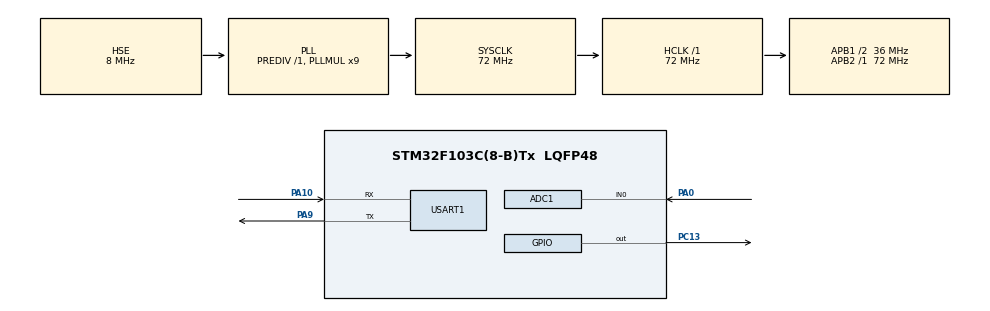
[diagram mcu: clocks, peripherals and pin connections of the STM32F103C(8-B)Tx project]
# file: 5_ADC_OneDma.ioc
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ADC1.Channel-0\#ChannelRegularConversion=ADC_CHANNEL_0
ADC1.ContinuousConvMode=ENABLE
ADC1.NbrOfConversionFlag=1
ADC1.Rank-0\#ChannelRegularConversion=1
ADC1.SamplingTime-0\#ChannelRegularConversion=ADC_SAMPLETIME_41CYCLES_5
ADC1.master=1
Dma.ADC1.0.Direction=DMA_PERIPH_TO_MEMORY
Dma.ADC1.0.Instance=DMA1_Channel1
Dma.ADC1.0.MemDataAlignment=DMA_MDATAALIGN_HALFWORD
Dma.ADC1.0.MemInc=DMA_MINC_ENABLE
Dma.ADC1.0.Mode=DMA_CIRCULAR
Dma.ADC1.0.PeriphDataAlignment=DMA_PDATAALIGN_HALFWORD
Dma.ADC1.0.PeriphInc=DMA_PINC_DISABLE
Dma.ADC1.0.Priority=DMA_PRIORITY_MEDIUM
Dma.Request0=ADC1
Mcu.Family=STM32F1
Mcu.Name=STM32F103C(8-B)Tx
Mcu.Package=LQFP48
NVIC.ADC1_2_IRQn=true\:0\:0\:false\:false\:true\:true\:true\:true
NVIC.DMA1_Channel1_IRQn=true\:0\:0\:false\:false\:true\:false\:true\:true
NVIC.PriorityGroup=NVIC_PRIORITYGROUP_4
NVIC.USART1_IRQn=true\:0\:0\:false\:false\:true\:true\:true\:true
PA0-WKUP.Signal=ADCx_IN0
PA10.Mode=Asynchronous
PA10.Signal=USART1_RX
PA13.Mode=Serial_Wire
PA13.Signal=SYS_JTMS-SWDIO
PA14.Mode=Serial_Wire
PA14.Signal=SYS_JTCK-SWCLK
PA9.Mode=Asynchronous
PA9.Signal=USART1_TX
PC13-TAMPER-RTC.PinState=GPIO_PIN_SET
PC13-TAMPER-RTC.Signal=GPIO_Output
PD0-OSC_IN.Mode=HSE-External-Oscillator
PD0-OSC_IN.Signal=RCC_OSC_IN
PD1-OSC_OUT.Mode=HSE-External-Oscillator
PD1-OSC_OUT.Signal=RCC_OSC_OUT
ProjectManager.HeapSize=0x200
ProjectManager.StackSize=0x400
ProjectManager.TargetToolchain=MDK-ARM V5.32
RCC.ADCPresc=RCC_ADCPCLK2_DIV6
RCC.AHBFreq_Value=72000000
RCC.APB1CLKDivider=RCC_HCLK_DIV2
RCC.APB1Freq_Value=36000000
RCC.APB1TimFreq_Value=72000000
RCC.APB2Freq_Value=72000000
RCC.APB2TimFreq_Value=72000000
RCC.EnbaleCSS=true
RCC.HCLKFreq_Value=72000000
RCC.PLLMUL=RCC_PLL_MUL9
RCC.PLLSourceVirtual=RCC_PLLSOURCE_HSE
RCC.SYSCLKFreq_VALUE=72000000
RCC.SYSCLKSource=RCC_SYSCLKSOURCE_PLLCLK
RCC.USBFreq_Value=72000000
SH.ADCx_IN0.0=ADC1_IN0,IN0
USART1.VirtualMode=VM_ASYNC
board=custom

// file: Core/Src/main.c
/* USER CODE BEGIN Header */
/**
  ******************************************************************************
  * @file           : main.c
  * @brief          : Main program body
  ******************************************************************************
  * @attention
  *
  * Copyright (c) 2025 STMicroelectronics.
  * All rights reserved.
  *
  * This software is licensed under terms that can be found in the LICENSE file
  * in the root directory of this software component.
  * If no LICENSE file comes with this software, it is provided AS-IS.
  *
  ******************************************************************************
  */
/* USER CODE END Header */
#include "main.h"
#include "adc.h"
#include "dma.h"
#include "usart.h"
#include "gpio.h"

/* USER CODE BEGIN Includes */

#include "stdio.h"

extern ADC_HandleTypeDef hadc1;
extern DMA_HandleTypeDef hdma_adc1;
extern UART_HandleTypeDef huart1;

/* USER CODE END Includes */

/* USER CODE BEGIN PV */

uint16_t ADC_Value = 0;  // 存放 ADC 结果
char tx_buf[64];             // 串口发送缓冲区

/* USER CODE END PV */

void SystemClock_Config(void);

int main(void)
{

  /* MCU Configuration--------------------------------------------------------*/

  /* Reset of all peripherals, Initializes the Flash interface and the Systick. */
  HAL_Init();

  /* Configure the system clock */
  SystemClock_Config();

  /* Initialize all configured peripherals */
  MX_GPIO_Init();
  MX_DMA_Init();
  MX_ADC1_Init();
  MX_USART1_UART_Init();
  /* USER CODE BEGIN 2 */

  HAL_ADC_Start_DMA(&hadc1, (uint32_t *)&ADC_Value, 1);
  HAL_GPIO_TogglePin(GPIOC, GPIO_PIN_13);
  HAL_Delay(150);

  /* USER CODE END 2 */

  /* Infinite loop */
  /* USER CODE BEGIN WHILE */
  while (1)
  {
    float voltage = (3.3f / 4096.0f) * ADC_Value;

    // int len = snprintf(tx_buf, sizeof(tx_buf),
    //                    "ADC Raw = %4d, Voltage = %.3f V\r\n",
    //                    ADC_Value, voltage);

        int len = snprintf(tx_buf, sizeof(tx_buf),
                       "%4d,%.3f\r\n",
                       ADC_Value, voltage);

    HAL_UART_Transmit(&huart1, (uint8_t *)tx_buf, len, HAL_MAX_DELAY);

    HAL_GPIO_TogglePin(GPIOC, GPIO_PIN_13);

    HAL_Delay(150);
    /* USER CODE END WHILE */

  }
}

void SystemClock_Config(void)
{
  RCC_OscInitTypeDef RCC_OscInitStruct = {0};
  RCC_ClkInitTypeDef RCC_ClkInitStruct = {0};
  RCC_PeriphCLKInitTypeDef PeriphClkInit = {0};

  /** Initializes the RCC Oscillators according to the specified parameters
  * in the RCC_OscInitTypeDef structure.
  */
  RCC_OscInitStruct.OscillatorType = RCC_OSCILLATORTYPE_HSE;
  RCC_OscInitStruct.HSEState = RCC_HSE_ON;
  RCC_OscInitStruct.HSEPredivValue = RCC_HSE_PREDIV_DIV1;
  RCC_OscInitStruct.HSIState = RCC_HSI_ON;
  RCC_OscInitStruct.PLL.PLLState = RCC_PLL_ON;
  RCC_OscInitStruct.PLL.PLLSource = RCC_PLLSOURCE_HSE;
  RCC_OscInitStruct.PLL.PLLMUL = RCC_PLL_MUL9;
  if (HAL_RCC_OscConfig(&RCC_OscInitStruct) != HAL_OK)
  {
    Error_Handler();
  }

  /** Initializes the CPU, AHB and APB buses clocks
  */
  RCC_ClkInitStruct.ClockType = RCC_CLOCKTYPE_HCLK|RCC_CLOCKTYPE_SYSCLK
                              |RCC_CLOCKTYPE_PCLK1|RCC_CLOCKTYPE_PCLK2;
  RCC_ClkInitStruct.SYSCLKSource = RCC_SYSCLKSOURCE_PLLCLK;
  RCC_ClkInitStruct.AHBCLKDivider = RCC_SYSCLK_DIV1;
  RCC_ClkInitStruct.APB1CLKDivider = RCC_HCLK_DIV2;
  RCC_ClkInitStruct.APB2CLKDivider = RCC_HCLK_DIV1;

  if (HAL_RCC_ClockConfig(&RCC_ClkInitStruct, FLASH_LATENCY_2) != HAL_OK)
  {
    Error_Handler();
  }
  PeriphClkInit.PeriphClockSelection = RCC_PERIPHCLK_ADC;
  PeriphClkInit.AdcClockSelection = RCC_ADCPCLK2_DIV6;
  if (HAL_RCCEx_PeriphCLKConfig(&PeriphClkInit) != HAL_OK)
  {
    Error_Handler();
  }

  /** Enables the Clock Security System
  */
  HAL_RCC_EnableCSS();
}

void Error_Handler(void)
{
  __disable_irq();
  while (1)
  {
  }
}
